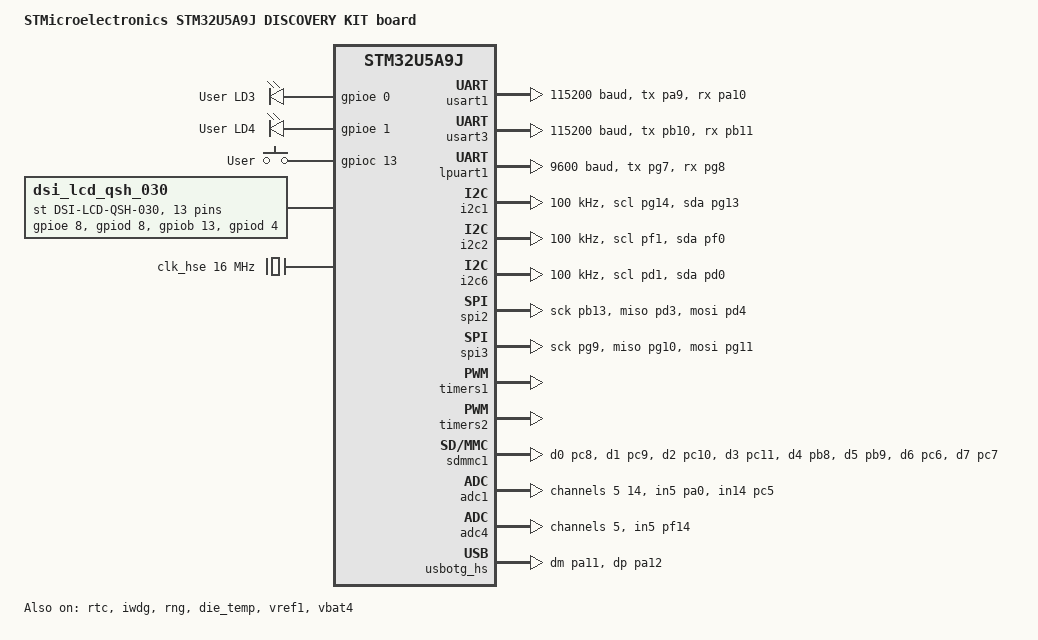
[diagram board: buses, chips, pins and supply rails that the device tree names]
/*
 * Copyright (c) 2023-2024 STMicroelectronics
 *
 * SPDX-License-Identifier: Apache-2.0
 */

/dts-v1/;
#include <st/u5/stm32u5a9Xj.dtsi>
#include <st/u5/stm32u5a9njhxq-pinctrl.dtsi>
#include <zephyr/dt-bindings/input/input-event-codes.h>

/ {
	model = "STMicroelectronics STM32U5A9J DISCOVERY KIT board";
	compatible = "st,stm32u5a9j-dk";

	chosen {
		zephyr,console = &usart1;
		zephyr,shell-uart = &usart1;
		zephyr,sram = &sram0;
		zephyr,flash = &flash0;
		zephyr,code-partition = &slot0_partition;
	};

	leds {
		compatible = "gpio-leds";

		green_led_0: led_3 {
			gpios = <&gpioe 0 GPIO_ACTIVE_HIGH>;
			label = "User LD3";
		};

		red_led_0: led_4 {
			gpios = <&gpioe 1 GPIO_ACTIVE_HIGH>;
			label = "User LD4";
		};
	};

	gpio_keys {
		compatible = "gpio-keys";

		user_button: button_0 {
			label = "User";
			gpios = <&gpioc 13 (GPIO_ACTIVE_HIGH | GPIO_PULL_DOWN)>;
			zephyr,code = <INPUT_KEY_0>;
		};
	};

	dsi_lcd_qsh_030: connector_dsi_lcd {
		compatible = "st,dsi-lcd-qsh-030";
		#gpio-cells = <2>;
		gpio-map-mask = <0xffffffff 0xffffffc0>;
		gpio-map-pass-thru = <0 0x3f>;
		gpio-map = <4 0 &gpioe 8 0>,	/* TOUCH_INT */
			   <22 0 &gpiod 8 0>,	/* SPI chip SEL */
			   <24 0 &gpiob 13 0>,	/* SPI CLK */
			   <26 0 &gpiod 4 0>,	/* SPI MOSI */
			   <28 0 &gpiod 11 0>,	/* SPI DCX */
			   <35 0 &gpioe 5 0>,	/* SCLK/MCLK */
			   <37 0 &gpioe 4 0>,	/* LRCLK */
			   <40 0 &gpioh 4 0>,	/* I2C5_SDA */
			   <43 0 &gpioi 7 0>,	/* SWIRE */
			   <44 0 &gpioh 5 0>,	/* I2C5_SCL */
			   <49 0 &gpiof 11 0>,	/* DSI_TE */
			   <53 0 &gpioi 6 0>,	/* LCD_BL_CTRL */
			   <57 0 &gpiod 5 0>;	/* DSI_RESET */
	};

	aliases {
		led0 = &green_led_0;
		led1 = &red_led_0;
		sw0 = &user_button;
		sdhc0 = &sdmmc1;
		watchdog0 = &iwdg;
		die-temp0 = &die_temp;
		volt-sensor0 = &vref1;
		volt-sensor1 = &vbat4;
	};
};

&clk_hsi48 {
	status = "okay";
};

&clk_hse {
	clock-frequency = <DT_FREQ_M(16)>;
	status = "okay";
};

&clk_msis {
	status = "okay";
	msi-range = <4>; /* 4MHz (reset value) */
	msi-pll-mode;
};

&clk_lse {
	status = "okay";
};

&pll1 {
	div-m = <1>;
	mul-n = <80>;
	div-p = <2>;
	div-q = <2>;
	div-r = <2>;
	clocks = <&clk_msis>;
	status = "okay";
};

&rcc {
	clocks = <&pll1>;
	clock-frequency = <DT_FREQ_M(160)>;
	ahb-prescaler = <1>;
	apb1-prescaler = <1>;
	apb2-prescaler = <1>;
	apb3-prescaler = <1>;
};

&usart1 {
	pinctrl-0 = <&usart1_tx_pa9 &usart1_rx_pa10>;
	pinctrl-names = "default";
	current-speed = <115200>;
	status = "okay";
};

uart0: &usart3 {
	pinctrl-0 = <&usart3_tx_pb10 &usart3_rx_pb11>;
	pinctrl-names = "default";
	current-speed = <115200>;
	status = "okay";
};

&lpuart1 {
	pinctrl-0 = <&lpuart1_tx_pg7 &lpuart1_rx_pg8>;
	pinctrl-names = "default";
	current-speed = <9600>;
	status = "okay";
};

&i2c1 {
	pinctrl-0 = <&i2c1_scl_pg14 &i2c1_sda_pg13>;
	pinctrl-names = "default";
	status = "okay";
	clock-frequency = <I2C_BITRATE_STANDARD>;
};

&i2c2 {
	pinctrl-0 = <&i2c2_scl_pf1 &i2c2_sda_pf0>;
	pinctrl-names = "default";
	status = "okay";
	clock-frequency = <I2C_BITRATE_STANDARD>;
};

&i2c6 {
	pinctrl-0 = <&i2c6_scl_pd1 &i2c6_sda_pd0>;
	pinctrl-names = "default";
	status = "okay";
	clock-frequency = <I2C_BITRATE_STANDARD>;
};

&spi2 {
	pinctrl-0 = <&spi2_sck_pb13 &spi2_miso_pd3 &spi2_mosi_pd4>;
	pinctrl-names = "default";
	cs-gpios = <&gpiob 12 (GPIO_ACTIVE_LOW | GPIO_PULL_UP)>;
	status = "okay";
};

&spi3 {
	pinctrl-0 = <&spi3_sck_pg9 &spi3_miso_pg10 &spi3_mosi_pg11>;
	pinctrl-names = "default";
	cs-gpios = <&gpiog 15 (GPIO_ACTIVE_LOW | GPIO_PULL_UP)>;
	status = "okay";
};

&timers1 {
	st,prescaler = <1>;
	status = "okay";

	pwm1: pwm {
		status = "okay";
		pinctrl-0 = <&tim1_ch2_pe11>;
		pinctrl-names = "default";
	};
};

&timers2 {
	st,prescaler = <1>;
	status = "okay";

	pwm2: pwm {
		status = "okay";
		pinctrl-0 = <&tim2_ch4_pa3>;
		pinctrl-names = "default";
	};
};

/* Connected to onboard 4-Gbyte eMMC flash memory */
&sdmmc1 {
	pinctrl-0 = <&sdmmc1_d0_pc8 &sdmmc1_d1_pc9
		     &sdmmc1_d2_pc10 &sdmmc1_d3_pc11
		     &sdmmc1_d4_pb8 &sdmmc1_d5_pb9
		     &sdmmc1_d6_pc6 &sdmmc1_d7_pc7
		     &sdmmc1_ck_pc12 &sdmmc1_cmd_pd2>;
	pinctrl-names = "default";
	disk-name = "SD";
	status = "okay";
};

&adc1 {
	pinctrl-0 = <&adc1_in5_pa0 &adc1_in14_pc5>;
	pinctrl-names = "default";
	st,adc-clock-source = "ASYNC";
	st,adc-prescaler = <1>;
	status = "okay";

	#address-cells = <1>;
	#size-cells = <0>;

	channel@5 {
		reg = <0x5>;
		zephyr,gain = "ADC_GAIN_1";
		zephyr,reference = "ADC_REF_INTERNAL";
		zephyr,acquisition-time = <ADC_ACQ_TIME_DEFAULT>;
		zephyr,resolution = <14>;
	};

	channel@e {
		reg = <0xe>;
		zephyr,gain = "ADC_GAIN_1";
		zephyr,reference = "ADC_REF_INTERNAL";
		zephyr,acquisition-time = <ADC_ACQ_TIME_DEFAULT>;
		zephyr,resolution = <14>;
	};
};

&adc4 {
	pinctrl-0 = <&adc4_in5_pf14>;
	pinctrl-names = "default";
	st,adc-clock-source = "ASYNC";
	st,adc-prescaler = <1>;
	status = "okay";

	#address-cells = <1>;
	#size-cells = <0>;

	channel@5 {
		reg = <0x5>;
		zephyr,gain = "ADC_GAIN_1";
		zephyr,reference = "ADC_REF_INTERNAL";
		zephyr,acquisition-time = <ADC_ACQ_TIME_DEFAULT>;
		zephyr,resolution = <12>;
	};
};

zephyr_udc0: &usbotg_hs {
	pinctrl-0 = <&usb_otg_hs_dm_pa11 &usb_otg_hs_dp_pa12>;
	pinctrl-names = "default";
	status = "okay";
};

&otghs_phy {
	clock-reference = "SYSCFG_OTG_HS_PHY_CLK_16MHz";
};

&flash0 {
	partitions {
		compatible = "fixed-partitions";
		#address-cells = <1>;
		#size-cells = <1>;

		/*
		 * Following flash partition is dedicated to the use of bootloader
		 */
		boot_partition: partition@0 {
			label = "mcuboot";
			reg = <0x00000000 DT_SIZE_K(64)>;
		};

		slot0_partition: partition@10000 {
			label = "image-0";
			reg = <0x00010000 DT_SIZE_K(1952)>;
		};

		slot1_partition: partition@1f8000 {
			label = "image-1";
			reg = <0x001f8000 DT_SIZE_K(1960)>;
		};

		storage_partition: partition@3e2000 {
			label = "storage";
			reg = <0x003e2000 DT_SIZE_K(120)>;
		};
	};
};

&rtc {
	clocks = <&rcc STM32_CLOCK(APB3, 21)>,
		 <&rcc STM32_SRC_LSE RTC_SEL(1)>;
	status = "okay";
};

&iwdg {
	status = "okay";
};

&rng {
	status = "okay";
};

&die_temp {
	status = "okay";
};

&vref1 {
	status = "okay";
};

&vbat4 {
	status = "okay";
};
